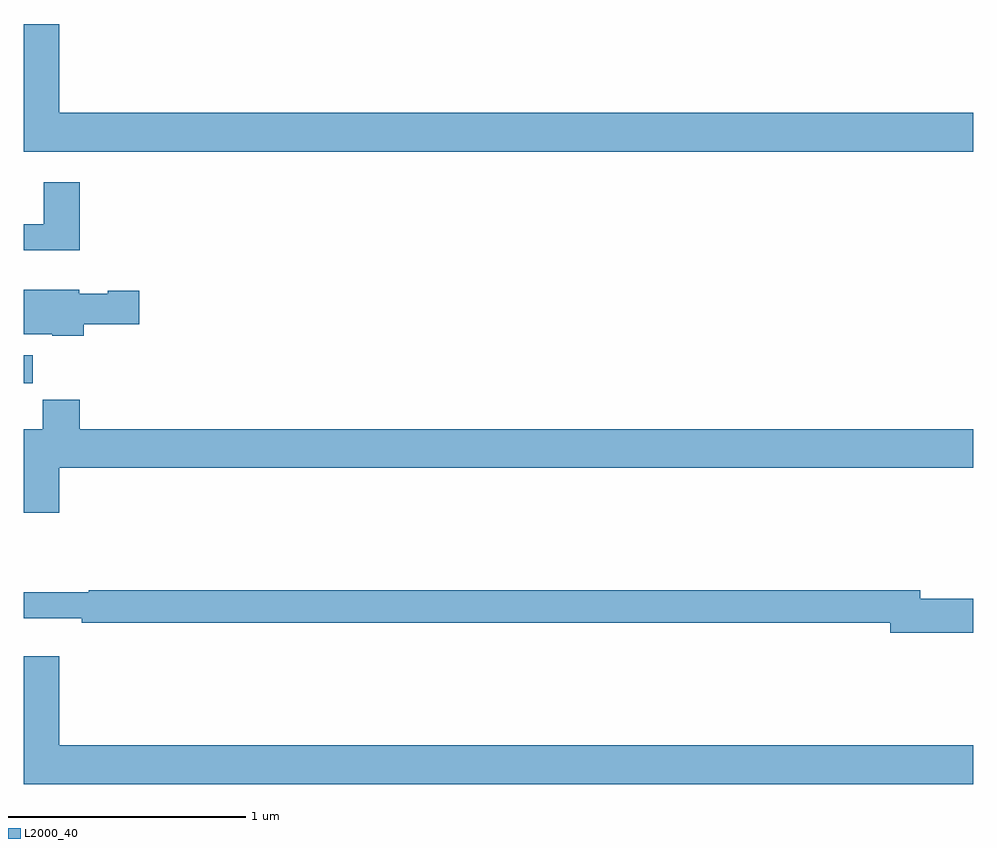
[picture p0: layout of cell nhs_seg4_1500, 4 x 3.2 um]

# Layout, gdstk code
import gdstk
lib = gdstk.Library(unit=1e-6, precision=1e-09)
def R(c, l, rs):  # rectangles x0, y0, x1, y1
    for r in rs: c.add(gdstk.rectangle(r[:2], r[2:], *l))
def P(c, l, *ps):  # polygons
    for p in ps: c.add(gdstk.Polygon(p, *l))
L2000_40 = (2000, 40)

nhs_seg4_1500 = lib.new_cell('nhs_seg4_1500')
R(nhs_seg4_1500, L2000_40, [(189,761.214,189.038,761.332)])
P(nhs_seg4_1500, L2000_40, [(193,762.352),(189.148,762.352),(189.148,762.727),(189,762.727),(189,762.188),(193,762.188)],
  [(189.236,762.061),(189.083,762.061),(189.083,761.884),(189,761.884),(189,761.774),(189.236,761.774)],
  [(189.251,761.461),(189.487,761.461),(189.487,761.603),(189.354,761.603),(189.354,761.59),(189.234,761.59),(189.234,761.608),(189,761.608),(189,761.42),(189.12,761.42),(189.12,761.414),(189.251,761.414)],
  [(189.148,760.856),(193,760.856),(193,761.02),(189.236,761.02),(189.236,761.144),(189.079,761.144),(189.079,761.02),(189,761.02),(189,760.668),(189.148,760.668)],
  [(193,760.304),(192.778,760.304),(192.778,760.34),(189.274,760.34),(189.274,760.333),(189,760.333),(189,760.223),(189.244,760.223),(189.244,760.204),(192.65,760.204),(192.65,760.162),(193,760.162)],
  [(193,759.688),(189.148,759.688),(189.148,760.063),(189,760.063),(189,759.524),(193,759.524)])

lib.write_gds('nhs_seg4_1500.gds')
